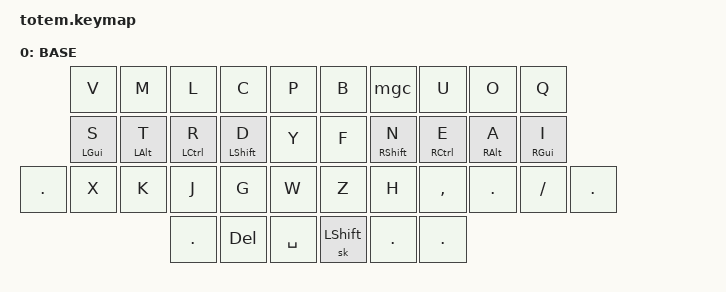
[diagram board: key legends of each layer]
//
//                                                        ▀▀▀▀▀     ▀▀▀▀▀          ▀▀█▀▀
//                                                        ▄▀▀▀▄  ▄  ▄▀▀▀▄  ▄  ▄▀▀▀▄  █  ▄▀▀▀▄
//                                                        █   █  █  █   █  █  █   █  █  █   █
//                                                         ▀▀▀   █   ▀▀▀   █   ▀▀▀   ▀   ▀▀▀
//                                                               █      ▄▄▄█▄▄▄    █   █  
//                                                               ▀      █  █  █     █▄█
//                                                             ▀▀▀▀▀    █  █  █      ▀
//                                                                      ▀  ▀  ▀
//
// ▄▄▄▄▄▄▄▄▄▄▄▄▄▄▄▄▄▄▄▄▄▄▄▄▄▄▄▄▄▄▄▄▄▄▄▄▄▄▄▄▄▄▄▄▄▄▄▄▄▄▄▄▄▄▄▄▄▄▄▄▄▄▄▄▄▄▄▄▄▄▄▄▄▄▄▄▄▄▄▄▄▄▄▄▄▄▄▄▄▄▄▄▄▄▄▄▄▄▄▄▄▄▄▄▄▄▄▄▄▄▄▄▄▄▄▄▄▄▄▄▄▄▄▄▄▄▄▄▄▄▄▄▄▄▄▄▄▄▄▄▄▄▄▄▄▄▄▄▄
       

#include <behaviors.dtsi>
#include <dt-bindings/zmk/keys.h>
#include <dt-bindings/zmk/bt.h>
#include <dt-bindings/zmk/outputs.h>

#define BASE 0

&mt {
  quick-tap-ms = <100>;
  global-quick-tap;
  flavor = "tap-preferred";
  tapping-term-ms = <220>;
};

/ {
     macros {
        efore: erfore {
            compatible = "zmk,behavior-macro";
            #binding-cells = <0>;
            bindings = <
                &kp E 
                &kp F 
                &kp O 
                &kp R 
                &kp E
            >;
        };
        unction: unction {
            compatible = "zmk,behavior-macro";
            #binding-cells = <0>;
            bindings = <&kp U &kp N &kp K &kp T &kp I &kp O &kp N>;
        };
        on: on {
            compatible = "zmk,behavior-macro";
            #binding-cells = <0>;
            bindings = <&kp O &kp N>;
        };
        ust: ust {
            compatible = "zmk,behavior-macro";
            #binding-cells = <0>;
            bindings = <&kp U &kp S &kp T>;
        };
        ent: ent {
            compatible = "zmk,behavior-macro";
            #binding-cells = <0>;
            bindings = <&kp E &kp N &kp T>;
        };
        ion: ion {
            compatible = "zmk,behavior-macro";
            #binding-cells = <0>;
            bindings = <&kp I &kp O &kp N>;
        };
        ment: ment {
            compatible = "zmk,behavior-macro";
            #binding-cells = <0>;
            bindings = <&kp M &kp E &kp N &kp T>;
        };
        er: er {
            compatible = "zmk,behavior-macro";
            #binding-cells = <0>;
            bindings = <&kp E &kp R>;
        };
        hich: hich {
            compatible = "zmk,behavior-macro";
            #binding-cells = <0>;
            bindings = <&kp H &kp I &kp C &kp H>;
        };
        es: es {
            compatible = "zmk,behavior-macro";
            #binding-cells = <0>;
            bindings = <&kp E &kp S>;
        };
        spacebut: spacebut {  
            compatible = "zmk,behavior-macro";
            #binding-cells = <0>;
            bindings = <&kp SPACE &kp B &kp U &kp T>;
        };
        the: the {  
            compatible = "zmk,behavior-macro";
            #binding-cells = <0>;
            bindings = <&kp T &kp H &kp E>;
        };
        dotslash: dotslash {  
            compatible = "zmk,behavior-macro";
            #binding-cells = <0>;
            bindings = <&kp DOT &kp SLASH>;
        };
     };

     behaviors {
        mgc: magic_key {
            compatible = "zmk,behavior-antecedent-morph";
            label = "MAGIC_KEY";
            #binding-cells = <0>;
            defaults = <&kp N>;
            //Magic
            bindings = <&kp O>, <&efore>, <&kp Y>, <&kp Y>, <&kp U>, <&unction>, <&kp Y>, <&on>, <&ust>, <&kp S>, <&kp K>, <&ent>, <&ion>, <&kp A>, <&kp Y>, <&kp L>, <&kp K>, <&ment>, <&kp E>, <&er>, <&hich>, <&es>, <&kp P>, <&spacebut>, <&dotslash>, <&kp STAR>, <&kp STAR>, <&kp GT>, <&kp GT>, <&the>, <&the>, <&the>, <&kp LT>, <&kp GT>, <&kp SEMI>, <&kp SEMI>, <&kp SEMI>, <&kp SEMI>;
            //Leadek
            antecedents = <A B C D E F G I J K L M N O P R S T U V W X Y SEMI DOT SLASH STAR MINUS EQUAL SPACE RET TAB GT LT RBKT DQT RBRC RPAR>;
            max-delay-ms = <10000>;
        };
     };

        keymap {
                compatible = "zmk,keymap";
// ▄▄▄▄▄▄▄▄▄▄▄▄▄▄▄▄▄▄▄▄▄▄▄▄▄▄▄▄▄▄▄▄▄▄▄▄▄▄▄▄▄▄▄▄▄▄▄▄▄▄▄▄▄▄▄▄▄▄▄▄▄▄▄▄▄▄▄▄▄▄▄▄▄▄▄▄▄▄▄▄▄▄▄▄▄▄▄▄▄▄▄▄▄▄▄▄▄▄▄▄▄▄▄▄▄▄▄▄▄▄▄▄▄▄▄▄▄▄▄▄▄▄▄▄▄▄▄▄▄▄▄▄▄▄▄▄▄▄▄▄▄▄▄▄▄▄▄▄▄

                base_layer {
// ┏━━━━━━━━━━━━━━━━━━━━━━━━━━━━━━━━━━━━━━━┓
label= "BASE"                              ;
// ┗━━━━━━━━━━━━━━━━━━━━━━━━━━━━━━━━━━━━━━━┛
//             ┏━━━━━━━━━━━┳━━━━━━━━━━━┳━━━━━━━━━━━┳━━━━━━━━━━━┳━━━━━━━━━━━┓   ┏━━━━━━━━━━━┳━━━━━━━━━━━┳━━━━━━━━━━━┳━━━━━━━━━━━┳━━━━━━━━━━━┓
//             ┃     V     ┃     M     ┃     L     ┃     C     ┃     P     ┃   ┃     B     ┃     *     ┃     U     ┃     O     ┃     Q     ┃
//             ┣━━━━━━━━━━━╋━━━━━━━━━━━╋━━━━━━━━━━━╋━━━━━━━━━━━╋━━━━━━━━━━━┫   ┣━━━━━━━━━━━╋━━━━━━━━━━━╋━━━━━━━━━━━╋━━━━━━━━━━━╋━━━━━━━━━━━┫
//             ┃     S     ┃     T     ┃     R     ┃     D     ┃     Y     ┃   ┃     F     ┃     N     ┃     E     ┃     A     ┃     I     ┃
// ┏━━━━━━━━━━━╋━━━━━━━━━━━╋━━━━━━━━━━━╋━━━━━━━━━━━╋━━━━━━━━━━━╋━━━━━━━━━━━┫   ┣━━━━━━━━━━━╋━━━━━━━━━━━╋━━━━━━━━━━━╋━━━━━━━━━━━╋━━━━━━━━━━━╋━━━━━━━━━━━┓
// ┃     -     ┃     X     ┃     K     ┃     J     ┃     G     ┃     W     ┃   ┃     Z     ┃     H     ┃     ,     ┃     .     ┃     /     ┃     -     ┃
// ┗━━━━━━━━━━━┻━━━━━━━━━━━┻━━━━━━━━━━━╋━━━━━━━━━━━╋━━━━━━━━━━━╋━━━━━━━━━━━┫   ┣━━━━━━━━━━━╋━━━━━━━━━━━╋━━━━━━━━━━━╋━━━━━━━━━━━┻━━━━━━━━━━━┻━━━━━━━━━━━┛
//                                     ┃           ┃    DEL    ┃   SPACE   ┃   ┃   SHIFT   ┃           ┃           ┃
//                                     ┗━━━━━━━━━━━┻━━━━━━━━━━━┻━━━━━━━━━━━┛   ┗━━━━━━━━━━━┻━━━━━━━━━━━┻━━━━━━━━━━━┛
 bindings = <
// ╷           ╷           ╷           ╷           ╷           ╷           ╷   ╷           ╷           ╷           ╷           ╷           ╷           ╷

                &kp V       &kp M       &kp L       &kp C       &kp P           &kp B       &mgc        &kp U       &kp O       &kp Q
                &mt LGUI S  &mt LALT T  &mt LCTRL R &mt LSHFT D &kp Y           &kp F       &mt RSHFT N &mt RCTRL E &mt RALT A  &mt RGUI I
    &kp DOT     &kp X       &kp K       &kp J       &kp G       &kp W           &kp Z       &kp H       &kp COMMA   &kp DOT     &kp SLASH    &kp DOT
                                        &kp DOT     &kp DEL       &kp SPACE       &sk LSHIFT   &kp DOT     &kp DOT
                        >;
                };
        };
};
